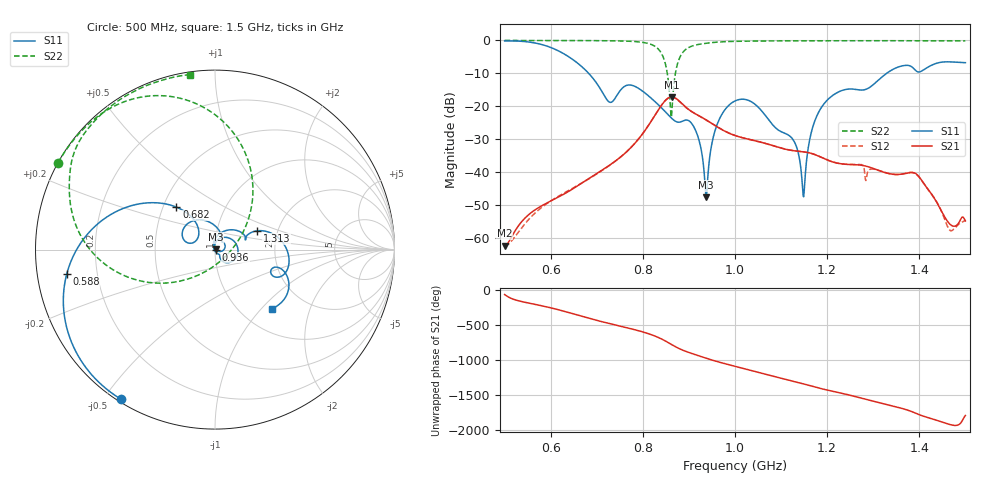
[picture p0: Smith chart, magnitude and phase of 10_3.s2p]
! TOUCHSTONE file generated by CST MICROWAVE STUDIO
! Date and time: Fri Oct 30 07:53:19 2020
! Project name: Scenario_1_Circular_Tissue_out_of_Line.cst
! Parameters = {dy1=-189.931; L_HA=400; MT=2.54; Rad_Dielectric=30; Rad_Lower=7.3; Rad_Upper=30; a_HA=580; a_WG=246; b_HA=500; b_WG=121; c_HA=0; c_WG=187; d_feed=85; dx1=520; h_feed=15; h_lower=18; h_upper=40}
! Header version: 2018
! Port assignment regex: !\s*Touchstone port\s*([0-9]+)\s*=\s*(CST MWS port|CST DS port)\s*([0-9]+|Zmin|Zmax)\s*\(\"(.*)\"\)(\s*mode\s*([0-9]+))?.*
! Touchstone port assignment:
! Touchstone port 1 = CST MWS port 1 ("")
! Touchstone port 2 = CST MWS port 2 ("")
# GHz S DB R 50
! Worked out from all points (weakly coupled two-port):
!   1001 points, 500 MHz to 1.5 GHz, reference 50 ohm
!   highest |S21| = -17.13 dB at 863 MHz (marker M1); lowest = -62.2 dB at 500 MHz (marker M2)
!   lowest |S11| = -47.5 dB at 937 MHz (marker M3), VSWR 1.01, Z = 50.4 + j0.147 ohm
!   |S11| at or under -10 dB: 682.6 MHz to 1.329 GHz (646.3 MHz wide, 64.3 % of centre)
!   |S22| runs from -23.2 to 0.0 dB; largest |S21 - S12| = 0.0052
!   S11 on the Smith chart (normalised r, x): 500 MHz: 0.01, -0.55; 588 MHz: 0.09, -0.08; 682 MHz: 0.59, +0.31; 936 MHz: 1.01, -0.00; 1.313 GHz: 1.56, +0.35; 1.5 GHz: 1.37, -1.16
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0.5  -0.14 -122.3  -62.19 -68.9  -62.35 -68.0  -0.01 151.1
0.588  -1.54 -170.6  -49.55 119.8  -49.82 121.6  -0.02 145.0
0.667  -7.89 140.0  -43.27 -19.2  -43.27 -19.2  -0.04 138.4
0.682  -9.91 132.2  -41.92 -46.8  -42.02 -46.3  -0.05 136.9
0.727  -18.66 143.7  -37.88 -122.6  -37.96 -122.3  -0.10 131.5
0.834  -19.55 75.8  -21.00 36.5  -20.94 37.0  -2.69 88.2
0.863  -23.66 54.4  -17.13 -65.9  -17.17 -65.9  -21.61 -85.2
0.879  -24.78 49.5  -18.37 -122.0  -18.46 -122.2  -5.54 -164.2
0.911  -26.27 -1.8  -22.00 158.4  -22.00 158.3  -1.52 163.3
0.936  -45.80 -1.3  -23.97 104.0  -23.98 103.8  -0.88 153.7
0.937  -47.51 20.2  -24.05 101.8  -24.07 101.6  -0.86 153.5
0.96  -25.93 79.0  -26.08 55.6  -26.05 55.7  -0.53 147.9
1  -18.34 16.4  -28.82 -14.3  -28.79 -14.3  -0.28 140.8
1.123  -29.53 -51.9  -33.34 137.9  -33.31 138.0  -0.12 128.0
1.148  -47.08 -137.5  -33.75 95.6  -33.74 95.7  -0.11 125.9
1.167  -27.12 98.1  -34.29 61.2  -34.29 61.2  -0.10 124.4
1.211  -16.77 49.7  -36.79 -9.8  -36.75 -11.0  -0.09 121.0
1.313  -11.81 24.0  -39.47 -175.0  -39.45 -174.0  -0.08 113.3
1.334  -9.50 14.9  -40.35 150.9  -40.35 150.3  -0.09 111.6
1.395  -9.43 -22.8  -40.64 26.9  -40.77 26.8  -0.10 106.9
1.467  -6.50 -38.1  -55.76 -127.5  -57.62 -56.7  -0.11 101.0
1.5  -6.74 -46.4  -54.69 3.2  -54.61 3.6  -0.13 98.1
